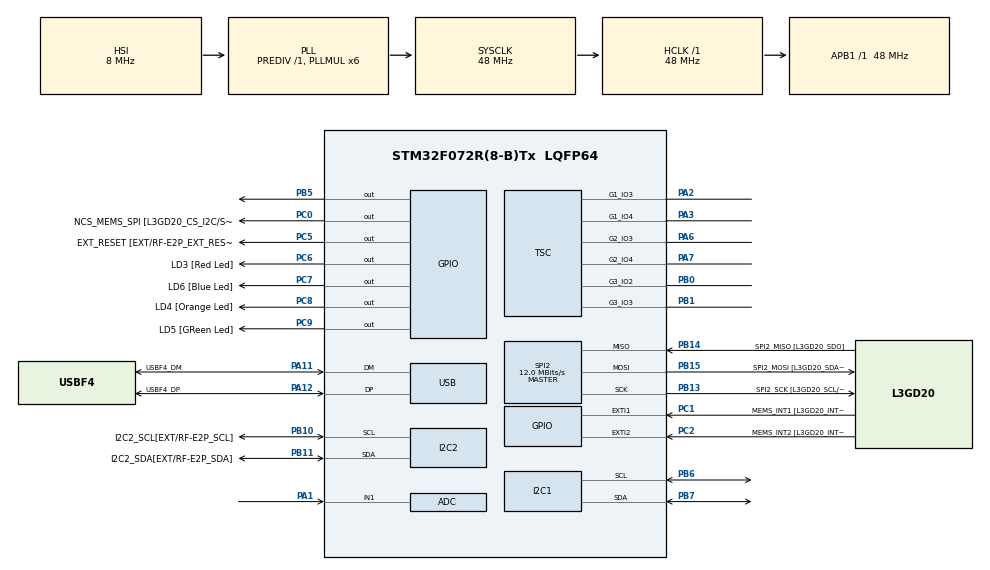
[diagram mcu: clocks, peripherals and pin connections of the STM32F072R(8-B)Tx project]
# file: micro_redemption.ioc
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ADC.ClockPrescaler=ADC_CLOCK_ASYNC_DIV1
ADC.ContinuousConvMode=DISABLE
ADC.SamplingTime=ADC_SAMPLETIME_1CYCLE_5
ADC.ScanConvMode=ADC_SCAN_DIRECTION_FORWARD
I2C1.Timing=0x00201D2B
I2C2.Timing=0x20303E5D
Mcu.Family=STM32F0
Mcu.Name=STM32F072R(8-B)Tx
Mcu.Package=LQFP64
PA0.Signal=ADC_IN0
PA1.Mode=IN1
PA1.Signal=ADC_IN1
PA11.GPIO_Label=USBF4_DM
PA11.Mode=Device
PA11.Signal=USB_DM
PA12.GPIO_Label=USBF4_DP
PA12.Mode=Device
PA12.Signal=USB_DP
PA13.GPIO_Label=SWDIO
PA13.Mode=Serial_Wire
PA13.Signal=SYS_SWDIO
PA14.GPIO_Label=SWCLK
PA14.Mode=Serial_Wire
PA14.Signal=SYS_SWCLK
PA2.Mode=G1_IO3-Channel
PA2.Signal=TSC_G1_IO3
PA3.Mode=G1_IO4-Sampling
PA3.Signal=TSC_G1_IO4
PA6.Mode=G2_IO3-Channel
PA6.Signal=TSC_G2_IO3
PA7.Mode=G2_IO4-Sampling
PA7.Signal=TSC_G2_IO4
PB0.Mode=G3_IO2-Channel
PB0.Signal=TSC_G3_IO2
PB1.Mode=G3_IO3-Sampling
PB1.Signal=TSC_G3_IO3
PB10.GPIO_Label=I2C2_SCL[EXT/RF-E2P_SCL]
PB10.GPIO_Pu=GPIO_PULLUP
PB10.Mode=I2C
PB10.Signal=I2C2_SCL
PB11.GPIO_Label=I2C2_SDA[EXT/RF-E2P_SDA]
PB11.GPIO_Pu=GPIO_PULLUP
PB11.Mode=I2C
PB11.Signal=I2C2_SDA
PB13.GPIO_Label=SPI2_SCK [L3GD20_SCL/SPC]
PB13.Mode=Full_Duplex_Master
PB13.Signal=SPI2_SCK
PB14.GPIO_Label=SPI2_MISO [L3GD20_SDO]
PB14.Mode=Full_Duplex_Master
PB14.Signal=SPI2_MISO
PB15.GPIO_Label=SPI2_MOSI [L3GD20_SDA/SDI]
PB15.Mode=Full_Duplex_Master
PB15.Signal=SPI2_MOSI
PB5.Signal=GPIO_Output
PB6.Mode=I2C
PB6.Signal=I2C1_SCL
PB7.Mode=I2C
PB7.Signal=I2C1_SDA
PC0.GPIO_Label=NCS_MEMS_SPI [L3GD20_CS_I2C/SPI]
PC0.Signal=GPIO_Output
PC1.GPIO_Label=MEMS_INT1 [L3GD20_INT1]
PC1.GPIO_ModeDefaultEXTI=GPIO_MODE_EVT_RISING
PC1.Signal=GPXTI1
PC2.GPIO_Label=MEMS_INT2 [L3GD20_INT2]
PC2.GPIO_ModeDefaultEXTI=GPIO_MODE_EVT_RISING
PC2.Signal=GPXTI2
PC5.GPIO_Label=EXT_RESET [EXT/RF-E2P_EXT_RESET]
PC5.Signal=GPIO_Output
PC6.GPIO_Label=LD3 [Red Led]
PC6.Signal=GPIO_Output
PC7.GPIO_Label=LD6 [Blue Led]
PC7.Signal=GPIO_Output
PC8.GPIO_Label=LD4 [Orange Led]
PC8.Signal=GPIO_Output
PC9.GPIO_Label=LD5 [GReen Led]
PC9.Signal=GPIO_Output
ProjectManager.HeapSize=0x200
ProjectManager.StackSize=0x400
ProjectManager.TargetToolchain=STM32CubeIDE
RCC.AHBFreq_Value=48000000
RCC.APB1Freq_Value=48000000
RCC.APB1TimFreq_Value=48000000
RCC.HCLKFreq_Value=48000000
RCC.PLLMUL=RCC_PLL_MUL6
RCC.SYSCLKFreq_VALUE=48000000
RCC.SYSCLKSource=RCC_SYSCLKSOURCE_PLLCLK
SPI2.BaudRatePrescaler=SPI_BAUDRATEPRESCALER_4
SPI2.CalculateBaudRate=12.0 MBits/s
SPI2.Direction=SPI_DIRECTION_2LINES
SPI2.Mode=SPI_MODE_MASTER
SPI2.VirtualType=VM_MASTER
USB.phy_itface=PCD_PHY_EMBEDDED
USB.speed=PCD_SPEED_FULL
VP_TIM14_VS_ClockSourceINT.Mode=Enable_Timer
board=STM32F072B-DISCO

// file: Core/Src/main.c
/* USER CODE BEGIN Header */
/**
  ******************************************************************************
  * @file           : main.c
  * @brief          : Main program body
  ******************************************************************************
  * @attention
  *
  * Copyright (c) 2025 STMicroelectronics.
  * All rights reserved.
  *
  * This software is licensed under terms that can be found in the LICENSE file
  * in the root directory of this software component.
  * If no LICENSE file comes with this software, it is provided AS-IS.
  *
  ******************************************************************************
  */
/* USER CODE END Header */
#include "main.h"

/* USER CODE BEGIN Includes */
#include "i2c-lcd.h"
#include <stdio.h>

/* USER CODE END Includes */

ADC_HandleTypeDef hadc;

I2C_HandleTypeDef hi2c1;
I2C_HandleTypeDef hi2c2;

SPI_HandleTypeDef hspi2;

TIM_HandleTypeDef htim14;

TSC_HandleTypeDef htsc;

PCD_HandleTypeDef hpcd_USB_FS;

void SystemClock_Config(void);
static void MX_GPIO_Init(void);
static void MX_I2C2_Init(void);
static void MX_SPI2_Init(void);
static void MX_TSC_Init(void);
static void MX_USB_PCD_Init(void);
static void MX_I2C1_Init(void);
static void MX_ADC_Init(void);
static void MX_TIM14_Init(void);

int main(void)
{

  /* MCU Configuration--------------------------------------------------------*/

  /* Reset of all peripherals, Initializes the Flash interface and the Systick. */
  HAL_Init();

  /* Configure the system clock */
  SystemClock_Config();

  /* Initialize all configured peripherals */
  MX_GPIO_Init();
  MX_I2C2_Init();
  MX_SPI2_Init();
  MX_TSC_Init();
  MX_USB_PCD_Init();
  MX_I2C1_Init();
  MX_ADC_Init();
  MX_TIM14_Init();
  /* USER CODE BEGIN 2 */
  // Initialize the LCD over I2C
  lcd_init();

  // Clear any garbage
  lcd_clear();

  // Position cursor at row 0, column 0
  lcd_put_cur(0, 0);

  // Print your message
  //lcd_send_string("Hello STM32!");

  void DisplayPotentiometer(void)
  /*
   * Reads PA1 via ADC, maps 0–4095 → 0–100%,
   * then prints “Pot: xx%” on line 2 of the LCD.
   */
  {
      uint32_t raw, percent;
      char buf[16];

      // Start and poll the conversion
      HAL_ADC_Start(&hadc);
      if (HAL_ADC_PollForConversion(&hadc, 10) == HAL_OK) {
          raw = HAL_ADC_GetValue(&hadc);
          // Map raw (0–4095) to percent (0–100)
          percent = raw * 100 / 4095;

          // Print on row 1 (second line), col 0
          lcd_put_cur(1, 0);
          sprintf(buf, "Pot: %3lu%%   ", percent);
          lcd_send_string(buf);
      }
  }
  /* USER CODE END 2 */

  /* Infinite loop */
  while (1)
  {
	  DisplayPotentiometer();
	  HAL_Delay(200);
  }
}

void SystemClock_Config(void)
{
  RCC_OscInitTypeDef RCC_OscInitStruct = {0};
  RCC_ClkInitTypeDef RCC_ClkInitStruct = {0};
  RCC_PeriphCLKInitTypeDef PeriphClkInit = {0};

  /** Initializes the RCC Oscillators according to the specified parameters
  * in the RCC_OscInitTypeDef structure.
  */
  RCC_OscInitStruct.OscillatorType = RCC_OSCILLATORTYPE_HSI|RCC_OSCILLATORTYPE_HSI14
                              |RCC_OSCILLATORTYPE_HSI48;
  RCC_OscInitStruct.HSIState = RCC_HSI_ON;
  RCC_OscInitStruct.HSI48State = RCC_HSI48_ON;
  RCC_OscInitStruct.HSI14State = RCC_HSI14_ON;
  RCC_OscInitStruct.HSICalibrationValue = RCC_HSICALIBRATION_DEFAULT;
  RCC_OscInitStruct.HSI14CalibrationValue = 16;
  RCC_OscInitStruct.PLL.PLLState = RCC_PLL_ON;
  RCC_OscInitStruct.PLL.PLLSource = RCC_PLLSOURCE_HSI;
  RCC_OscInitStruct.PLL.PLLMUL = RCC_PLL_MUL6;
  RCC_OscInitStruct.PLL.PREDIV = RCC_PREDIV_DIV1;
  if (HAL_RCC_OscConfig(&RCC_OscInitStruct) != HAL_OK)
  {
    Error_Handler();
  }

  /** Initializes the CPU, AHB and APB buses clocks
  */
  RCC_ClkInitStruct.ClockType = RCC_CLOCKTYPE_HCLK|RCC_CLOCKTYPE_SYSCLK
                              |RCC_CLOCKTYPE_PCLK1;
  RCC_ClkInitStruct.SYSCLKSource = RCC_SYSCLKSOURCE_PLLCLK;
  RCC_ClkInitStruct.AHBCLKDivider = RCC_SYSCLK_DIV1;
  RCC_ClkInitStruct.APB1CLKDivider = RCC_HCLK_DIV1;

  if (HAL_RCC_ClockConfig(&RCC_ClkInitStruct, FLASH_LATENCY_1) != HAL_OK)
  {
    Error_Handler();
  }
  PeriphClkInit.PeriphClockSelection = RCC_PERIPHCLK_USB|RCC_PERIPHCLK_I2C1;
  PeriphClkInit.I2c1ClockSelection = RCC_I2C1CLKSOURCE_HSI;
  PeriphClkInit.UsbClockSelection = RCC_USBCLKSOURCE_HSI48;

  if (HAL_RCCEx_PeriphCLKConfig(&PeriphClkInit) != HAL_OK)
  {
    Error_Handler();
  }
}

static void MX_ADC_Init(void)
{

  ADC_ChannelConfTypeDef sConfig = {0};

  /** Configure the global features of the ADC (Clock, Resolution, Data Alignment and number of conversion)
  */
  hadc.Instance = ADC1;
  hadc.Init.ClockPrescaler = ADC_CLOCK_ASYNC_DIV1;
  hadc.Init.Resolution = ADC_RESOLUTION_12B;
  hadc.Init.DataAlign = ADC_DATAALIGN_RIGHT;
  hadc.Init.ScanConvMode = ADC_SCAN_DIRECTION_FORWARD;
  hadc.Init.EOCSelection = ADC_EOC_SINGLE_CONV;
  hadc.Init.LowPowerAutoWait = DISABLE;
  hadc.Init.LowPowerAutoPowerOff = DISABLE;
  hadc.Init.ContinuousConvMode = DISABLE;
  hadc.Init.DiscontinuousConvMode = DISABLE;
  hadc.Init.ExternalTrigConv = ADC_SOFTWARE_START;
  hadc.Init.ExternalTrigConvEdge = ADC_EXTERNALTRIGCONVEDGE_NONE;
  hadc.Init.DMAContinuousRequests = DISABLE;
  hadc.Init.Overrun = ADC_OVR_DATA_PRESERVED;
  if (HAL_ADC_Init(&hadc) != HAL_OK)
  {
    Error_Handler();
  }

  /** Configure for the selected ADC regular channel to be converted.
  */
  sConfig.Channel = ADC_CHANNEL_1;
  sConfig.Rank = ADC_RANK_CHANNEL_NUMBER;
  sConfig.SamplingTime = ADC_SAMPLETIME_1CYCLE_5;
  if (HAL_ADC_ConfigChannel(&hadc, &sConfig) != HAL_OK)
  {
    Error_Handler();
  }

}

static void MX_I2C1_Init(void)
{

  hi2c1.Instance = I2C1;
  hi2c1.Init.Timing = 0x00201D2B;
  hi2c1.Init.OwnAddress1 = 0;
  hi2c1.Init.AddressingMode = I2C_ADDRESSINGMODE_7BIT;
  hi2c1.Init.DualAddressMode = I2C_DUALADDRESS_DISABLE;
  hi2c1.Init.OwnAddress2 = 0;
  hi2c1.Init.OwnAddress2Masks = I2C_OA2_NOMASK;
  hi2c1.Init.GeneralCallMode = I2C_GENERALCALL_DISABLE;
  hi2c1.Init.NoStretchMode = I2C_NOSTRETCH_DISABLE;
  if (HAL_I2C_Init(&hi2c1) != HAL_OK)
  {
    Error_Handler();
  }

  /** Configure Analogue filter
  */
  if (HAL_I2CEx_ConfigAnalogFilter(&hi2c1, I2C_ANALOGFILTER_ENABLE) != HAL_OK)
  {
    Error_Handler();
  }

  /** Configure Digital filter
  */
  if (HAL_I2CEx_ConfigDigitalFilter(&hi2c1, 0) != HAL_OK)
  {
    Error_Handler();
  }

}

static void MX_I2C2_Init(void)
{

  hi2c2.Instance = I2C2;
  hi2c2.Init.Timing = 0x20303E5D;
  hi2c2.Init.OwnAddress1 = 0;
  hi2c2.Init.AddressingMode = I2C_ADDRESSINGMODE_7BIT;
  hi2c2.Init.DualAddressMode = I2C_DUALADDRESS_DISABLE;
  hi2c2.Init.OwnAddress2 = 0;
  hi2c2.Init.OwnAddress2Masks = I2C_OA2_NOMASK;
  hi2c2.Init.GeneralCallMode = I2C_GENERALCALL_DISABLE;
  hi2c2.Init.NoStretchMode = I2C_NOSTRETCH_DISABLE;
  if (HAL_I2C_Init(&hi2c2) != HAL_OK)
  {
    Error_Handler();
  }

  /** Configure Analogue filter
  */
  if (HAL_I2CEx_ConfigAnalogFilter(&hi2c2, I2C_ANALOGFILTER_ENABLE) != HAL_OK)
  {
    Error_Handler();
  }

  /** Configure Digital filter
  */
  if (HAL_I2CEx_ConfigDigitalFilter(&hi2c2, 0) != HAL_OK)
  {
    Error_Handler();
  }

}

static void MX_SPI2_Init(void)
{

  /* SPI2 parameter configuration*/
  hspi2.Instance = SPI2;
  hspi2.Init.Mode = SPI_MODE_MASTER;
  hspi2.Init.Direction = SPI_DIRECTION_2LINES;
  hspi2.Init.DataSize = SPI_DATASIZE_4BIT;
  hspi2.Init.CLKPolarity = SPI_POLARITY_LOW;
  hspi2.Init.CLKPhase = SPI_PHASE_1EDGE;
  hspi2.Init.NSS = SPI_NSS_SOFT;
  hspi2.Init.BaudRatePrescaler = SPI_BAUDRATEPRESCALER_4;
  hspi2.Init.FirstBit = SPI_FIRSTBIT_MSB;
  hspi2.Init.TIMode = SPI_TIMODE_DISABLE;
  hspi2.Init.CRCCalculation = SPI_CRCCALCULATION_DISABLE;
  hspi2.Init.CRCPolynomial = 7;
  hspi2.Init.CRCLength = SPI_CRC_LENGTH_DATASIZE;
  hspi2.Init.NSSPMode = SPI_NSS_PULSE_ENABLE;
  if (HAL_SPI_Init(&hspi2) != HAL_OK)
  {
    Error_Handler();
  }

}

static void MX_TIM14_Init(void)
{

  htim14.Instance = TIM14;
  htim14.Init.Prescaler = 0;
  htim14.Init.CounterMode = TIM_COUNTERMODE_UP;
  htim14.Init.Period = 65535;
  htim14.Init.ClockDivision = TIM_CLOCKDIVISION_DIV1;
  htim14.Init.AutoReloadPreload = TIM_AUTORELOAD_PRELOAD_DISABLE;
  if (HAL_TIM_Base_Init(&htim14) != HAL_OK)
  {
    Error_Handler();
  }

}

static void MX_TSC_Init(void)
{

  /** Configure the TSC peripheral
  */
  htsc.Instance = TSC;
  htsc.Init.CTPulseHighLength = TSC_CTPH_2CYCLES;
  htsc.Init.CTPulseLowLength = TSC_CTPL_2CYCLES;
  htsc.Init.SpreadSpectrum = DISABLE;
  htsc.Init.SpreadSpectrumDeviation = 1;
  htsc.Init.SpreadSpectrumPrescaler = TSC_SS_PRESC_DIV1;
  htsc.Init.PulseGeneratorPrescaler = TSC_PG_PRESC_DIV4;
  htsc.Init.MaxCountValue = TSC_MCV_8191;
  htsc.Init.IODefaultMode = TSC_IODEF_OUT_PP_LOW;
  htsc.Init.SynchroPinPolarity = TSC_SYNC_POLARITY_FALLING;
  htsc.Init.AcquisitionMode = TSC_ACQ_MODE_NORMAL;
  htsc.Init.MaxCountInterrupt = DISABLE;
  htsc.Init.ChannelIOs = TSC_GROUP1_IO3|TSC_GROUP2_IO3|TSC_GROUP3_IO2;
  htsc.Init.ShieldIOs = 0;
  htsc.Init.SamplingIOs = TSC_GROUP1_IO4|TSC_GROUP2_IO4|TSC_GROUP3_IO3;
  if (HAL_TSC_Init(&htsc) != HAL_OK)
  {
    Error_Handler();
  }

}

static void MX_USB_PCD_Init(void)
{

  hpcd_USB_FS.Instance = USB;
  hpcd_USB_FS.Init.dev_endpoints = 8;
  hpcd_USB_FS.Init.speed = PCD_SPEED_FULL;
  hpcd_USB_FS.Init.phy_itface = PCD_PHY_EMBEDDED;
  hpcd_USB_FS.Init.low_power_enable = DISABLE;
  hpcd_USB_FS.Init.lpm_enable = DISABLE;
  hpcd_USB_FS.Init.battery_charging_enable = DISABLE;
  if (HAL_PCD_Init(&hpcd_USB_FS) != HAL_OK)
  {
    Error_Handler();
  }

}

static void MX_GPIO_Init(void)
{
  GPIO_InitTypeDef GPIO_InitStruct = {0};

  /* GPIO Ports Clock Enable */
  __HAL_RCC_GPIOC_CLK_ENABLE();
  __HAL_RCC_GPIOA_CLK_ENABLE();
  __HAL_RCC_GPIOB_CLK_ENABLE();

  /*Configure GPIO pin Output Level */
  HAL_GPIO_WritePin(GPIOC, NCS_MEMS_SPI_Pin|EXT_RESET_Pin|LD3_Pin|LD6_Pin
                          |LD4_Pin|LD5_Pin, GPIO_PIN_RESET);

  /*Configure GPIO pin Output Level */
  HAL_GPIO_WritePin(GPIOB, GPIO_PIN_5, GPIO_PIN_RESET);

  /*Configure GPIO pins : NCS_MEMS_SPI_Pin EXT_RESET_Pin LD3_Pin LD6_Pin
                           LD4_Pin LD5_Pin */
  GPIO_InitStruct.Pin = NCS_MEMS_SPI_Pin|EXT_RESET_Pin|LD3_Pin|LD6_Pin
                          |LD4_Pin|LD5_Pin;
  GPIO_InitStruct.Mode = GPIO_MODE_OUTPUT_PP;
  GPIO_InitStruct.Pull = GPIO_NOPULL;
  GPIO_InitStruct.Speed = GPIO_SPEED_FREQ_LOW;
  HAL_GPIO_Init(GPIOC, &GPIO_InitStruct);

  /*Configure GPIO pins : MEMS_INT1_Pin MEMS_INT2_Pin */
  GPIO_InitStruct.Pin = MEMS_INT1_Pin|MEMS_INT2_Pin;
  GPIO_InitStruct.Mode = GPIO_MODE_EVT_RISING;
  GPIO_InitStruct.Pull = GPIO_NOPULL;
  HAL_GPIO_Init(GPIOC, &GPIO_InitStruct);

  /*Configure GPIO pin : PB5 */
  GPIO_InitStruct.Pin = GPIO_PIN_5;
  GPIO_InitStruct.Mode = GPIO_MODE_OUTPUT_PP;
  GPIO_InitStruct.Pull = GPIO_NOPULL;
  GPIO_InitStruct.Speed = GPIO_SPEED_FREQ_LOW;
  HAL_GPIO_Init(GPIOB, &GPIO_InitStruct);

}

void Error_Handler(void)
{
  __disable_irq();
  while (1)
  {
  }
}
